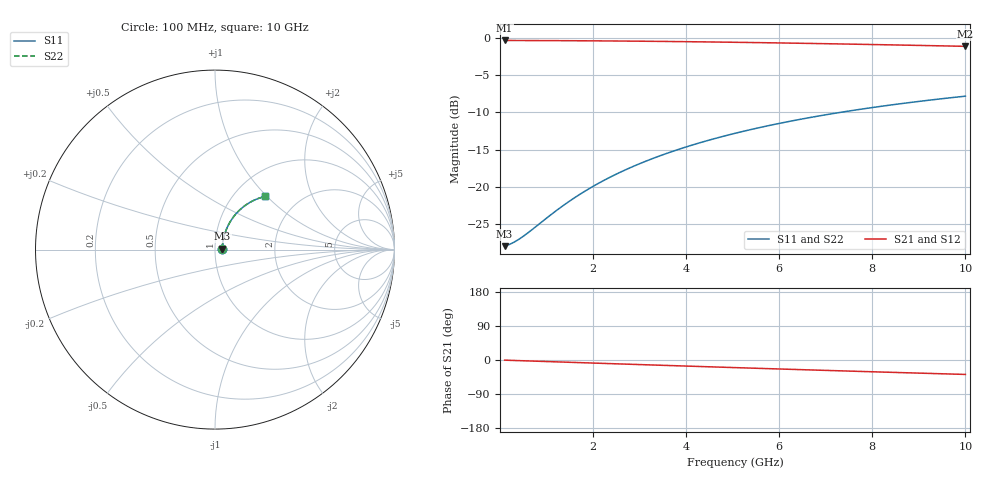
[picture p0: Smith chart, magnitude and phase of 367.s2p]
# Hz S RI R 50.00
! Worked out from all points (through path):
!   100 points, 100 MHz to 10 GHz, reference 50 ohm
!   highest |S21| = -0.35 dB at 100 MHz (marker M1); lowest = -1.1 dB at 10 GHz (marker M2)
!   group delay of S21, straight-line fit = 10.6 ps
!   lowest |S11| = -27.9 dB at 100 MHz (marker M3), VSWR 1.08, Z = 54.2 + j0.474 ohm
!   |S11| at or under -10 dB: start of sweep to 7.306 GHz
!   |S22| runs from -27.9 to -7.8 dB; largest |S21 - S12| = 0
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1e8  0.0399 0.00437  0.9601 -0.00678  0.9601 -0.00678  0.0399 0.00437
2e8  0.0403 0.00872  0.9597 -0.0136  0.9597 -0.0136  0.0403 0.00872
3e8  0.0406 0.0131  0.9593 -0.0203  0.9593 -0.0203  0.0406 0.0131
5e8  0.0414 0.0218  0.9585 -0.0339  0.9585 -0.0339  0.0414 0.0218
1.1e9  0.0449 0.0476  0.9547 -0.0742  0.9547 -0.0742  0.0449 0.0476
1.3e9  0.0465 0.0562  0.953 -0.0876  0.953 -0.0876  0.0465 0.0562
1.5e9  0.0483 0.0646  0.951 -0.1009  0.951 -0.1009  0.0483 0.0646
1.8e9  0.0515 0.0772  0.9475 -0.1208  0.9475 -0.1208  0.0515 0.0772
2.1e9  0.0552 0.0896  0.9435 -0.1405  0.9435 -0.1405  0.0552 0.0896
2.5e9  0.0608 0.1059  0.9373 -0.1664  0.9373 -0.1664  0.0608 0.1059
2.9e9  0.0673 0.1217  0.9301 -0.1919  0.9301 -0.1919  0.0673 0.1217
3.4e9  0.0767 0.1408  0.9198 -0.2232  0.9198 -0.2232  0.0767 0.1408
3.8e9  0.085 0.1556  0.9106 -0.2477  0.9106 -0.2477  0.085 0.1556
4.2e9  0.0941 0.1697  0.9005 -0.2716  0.9005 -0.2716  0.0941 0.1697
4.6e9  0.1039 0.1833  0.8897 -0.2949  0.8897 -0.2949  0.1039 0.1833
5.1e9  0.117 0.1993  0.8751 -0.3231  0.8751 -0.3231  0.117 0.1993
5.9e9  0.1398 0.2228  0.8495 -0.3661  0.8495 -0.3661  0.1398 0.2228
6.7e9  0.1646 0.2433  0.8217 -0.4063  0.8217 -0.4063  0.1646 0.2433
7.5e9  0.1909 0.2608  0.7918 -0.4435  0.7918 -0.4435  0.1909 0.2608
8.4e9  0.2218 0.2769  0.7564 -0.4818  0.7564 -0.4818  0.2218 0.2769
9.2e9  0.25 0.2879  0.7238 -0.5126  0.7238 -0.5126  0.25 0.2879
1e10  0.2786 0.2959  0.6903 -0.5406  0.6903 -0.5406  0.2786 0.2959
